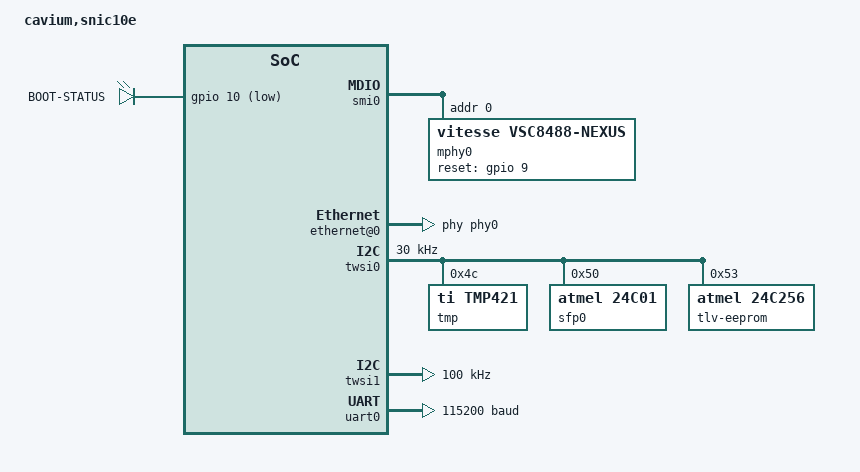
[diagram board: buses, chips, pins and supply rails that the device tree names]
/dts-v1/;
/*
 * Cavium Inc. (Small) NIC10e board
 */
/ {
	model = "cavium,snic10e";
	compatible = "cavium,snic10e";
	#address-cells = <2>;
	#size-cells = <2>;
	interrupt-parent = <&ciu>;

	soc@0 {
		compatible = "simple-bus";
		#address-cells = <2>;
		#size-cells = <2>;
		ranges; /* Direct mapping */

		ciu: interrupt-controller@1070000000000 {
			compatible = "cavium,octeon-3860-ciu";
			interrupt-controller;
			/* Interrupts are specified by two parts:
			 * 1) Controller register (0 or 1)
			 * 2) Bit within the register (0..63)
			 */
			#interrupt-cells = <2>;
			reg = <0x10700 0x00000000 0x0 0x7000>;
		};

		gpio: gpio-controller@1070000000800 {
			#gpio-cells = <2>;
			compatible = "cavium,octeon-3860-gpio";
			reg = <0x10700 0x00000800 0x0 0x100>;
			gpio-controller;
			/* Interrupts are specified by two parts:
			 * 1) GPIO pin number (0..15)
			 * 2) Triggering (1 - edge rising
			 *		  2 - edge falling
			 *		  4 - level active high
			 *		  8 - level active low)
			 */
			interrupt-controller;
			#interrupt-cells = <2>;
			/* The GPIO pins connect to 16 consecutive CUI bits */
			interrupts = <0 16>; /* <0 17> <0 18> <0 19>
				     <0 20> <0 21> <0 22> <0 23>
				     <0 24> <0 25> <0 26> <0 27>
				     <0 28> <0 29> <0 30> <0 31>; */
		};

		smi0: mdio@1180000001800 {
			compatible = "cavium,octeon-3860-mdio";
			#address-cells = <1>;
			#size-cells = <0>;
			reg = <0x11800 0x00001800 0x0 0x40>;

			mphy0: ethernet-phy-nexus@0 {
				reg = <0>;
				/* The Vitesse VSC8488 is a dual-PHY where
				 * some of the configuration is common across
				 * both of the phy devices such as the reset
				 * line and the base MDIO address.
				 */
				compatible = "vitesse,vsc8488-nexus", "ethernet-phy-nexus";
				#address-cells = <1>;
				#size-cells = <0>;
				ranges;

				/* Hardware reset signal */
				reset = <&gpio 9 0>;

				phy0: ethernet-phy@1 {
					/* Absolute address */
					reg = <0x1>;
					compatible = "vitesse,vsc8488", "ethernet-phy-ieee802.3-c45";
					interrupt-parent = <&gpio>;
					interrupts = <13 8>;

					mod_abs = <9>;
					/* TX Fault GPIO line */
					tx_fault = <8>;
					/* GPIO that enables output */
					txon = <10>;
					/* INT A GPIO output */
					inta = <5>;
					/* Optional equalization value to
					 * program into the PHY XS XAUI Rx
					 * Equalization control register.
					 * It is broken up into one nibble for
					 * each lane with lane 0 using bits
					 * 12 - 15.
					 * Use the following table:
					 *	0x0 - 0dB
					 *	0x1 - 1.41dB
					 *	0x2 - 2.24dB
					 *	0x3 - 2.83dB
					 *	0x5 - 4.48dB
					 *	0x6 - 5.39dB
					 *	0x7 - 6.07dB
					 *	0x9 - 6.18dB
					 *	0xA - 7.08dB (default)
					 *	0xB - 7.79dB
					 *	0xD - 9.96dB
					 *	0xE - 10.84dB
					 *	0xF - 11.55dB
					 *
					 * This is board specific and should
					 * only be defined by the hardware
					 * vendor.
					 */
					vitesse,rx_equalization = <0x0000>;
					/* Optional transmit pre-emphasis
					 * control.  This sets the
					 * PHY XS XAUI TX pre-emphasis control
					 * register.
					 *
					 * It uses bits 13-14 for lane 0,
					 * 10-11 for lane 1, 7-8 for lane 2
					 * and 4-5 for lane 3.
					 *
					 * Bits 2-3 are the LOS threshold
					 * setting and bit 1 enables
					 * the XAUI output high swing mode.
					 *
					 * Use the following table for
					 * pre-emphasis:
					 * 0b00 - 0dB
					 * 0b01 - 2.5dB
					 * 0b10 - 6dB (default)
					 * 0b11 - 12dB
					 *
					 * Use the following table for the LOS
					 * threshold setting:
					 *
					 * 0b00 - 50mV - 175mV (default)
					 * 0b01 - 60mV - 185mV
					 * 0b10 - 70mV - 195mV
					 * 0b11 - 80mV - 205mV
					 */
					vitesse,tx_preemphasis = <0x0000>;

					/* TX output driver slew rate control
					 * is bits 8-11 where 0x0 is the minimum
					 * and 0xF is the maximum.
					 * Default is 0xA.
					 *
					 * The TX output driver C(-1)
					 * coefficient is bits 0-4 where
					 * 0b00000 is the minimum (-4ma) and
					 * 0b11111 is the maximum (4ma).  The
					 * default 0x 0b01111.
					 */
					vitesse,txout_driver_ctrl1 = <0x0A0F>;

					/* The TX output driver C(0) coefficient
					 * is bits 8-12 with 0b00000 being the
					 * minimum (0mA) and 0b11111 being
					 * the maximum (16mA). The default is
					 * 0b10011
					 *
					 * The C(+1) coefficient is bits 0-5
					 * with 0b000000 being the minimum
					 * (-0.25mA) and 0b111111 being the
					 * maximum (-16mA).  The default is
					 * 0b000000.
					 */
					vitesse,txout_driver_ctrl2 = <0x1606>;
					/* The Vitesse 10G PHY does not
					 * automatically read the SFP EEPROM
					 * so the host needs to do it to put
					 * the PHY in the proper mode for
					 * copper or optical.
					 */
					sfp-eeprom = <&sfp0>;
	                        };
			};
		};

		pip: pip@11800a0000000 {
			compatible = "cavium,octeon-3860-pip";
			#address-cells = <1>;
			#size-cells = <0>;
			reg = <0x11800 0xa0000000 0x0 0x2000>;

			interface@0 {
				compatible = "cavium,octeon-3860-pip-interface";
				#address-cells = <1>;
				#size-cells = <0>;
				reg = <0>; /* interface */

				ethernet@0 {
					compatible = "cavium,octeon-3860-pip-port";
					reg = <0x0>; /* Port */
					local-mac-address = [ 00 00 00 00 00 00 ];
					phy-handle = <&phy0>;
				};
			};
		};

		twsi0: i2c@1180000001000 {
			#address-cells = <1>;
			#size-cells = <0>;
			compatible = "cavium,octeon-3860-twsi";
			reg = <0x11800 0x00001000 0x0 0x200>;
			interrupts = <0 45>;
			/* NOTE: In order to get the proper delay between
			 * i2c bus transactions for the SFP we need to either
			 * slow the bus down to no more than 30KHz or else
			 * somehow insert a delay between transactions.  Only
			 * U-Boot is capable of inserting the appropriate delay
			 * at this time.
			 */
			clock-frequency = <30000>;

			tmp@4c {
				compatible = "ti,tmp421";
				reg = <0x4c>;
			};
			sfp0: eeprom@50 {
				compatible = "atmel,24c01";
				reg = <0x50>;
			};
			tlv-eeprom@53 {
				compatible = "atmel,24c256";
				reg = <0x53>;
				pagesize = <64>;
			};
		};

		twsi1: i2c@1180000001200 {
			#address-cells = <1>;
			#size-cells = <0>;
			compatible = "cavium,octeon-3860-twsi";
			reg = <0x11800 0x00001200 0x0 0x200>;
			interrupts = <0 59>;
			clock-frequency = <100000>;
		};

		uart0: serial@1180000000800 {
			compatible = "cavium,octeon-3860-uart","ns16550";
			reg = <0x11800 0x00000800 0x0 0x400>;
			clock-frequency = <0>;
			current-speed = <115200>;
			reg-shift = <3>;
			interrupts = <0 34>;
		};

		bootbus: bootbus@1180000000000 {
			compatible = "cavium,octeon-3860-bootbus";
			reg = <0x11800 0x00000000 0x0 0x200>;
			/* The chip select number and offset */
			#address-cells = <2>;
			/* The size of the chip select region */
			#size-cells = <1>;
         ranges = <0 0  0       0x1f400000  0xc00000>,
                  <1 0  0x10000 0x30000000  0>,
                  <2 0  0x10000 0x40000000  0>,
                  <3 0  0x10000 0x50000000  0>,
                  <4 0  0x10000 0x60000000  0>,
                  <5 0  0x10000 0x70000000  0>,
                  <6 0  0x10000 0x80000000  0>,
                  <7 0  0x10000 0x90000000  0>;

			cavium,cs-config@0 {
				compatible = "cavium,octeon-3860-bootbus-config";
				cavium,cs-index = <0>;
				cavium,t-adr  = <10>;
				cavium,t-ce   = <50>;
				cavium,t-oe   = <50>;
				cavium,t-we   = <35>;
				cavium,t-rd-hld = <25>;
				cavium,t-wr-hld = <35>;
				cavium,t-pause  = <0>;
				cavium,t-wait   = <300>;
				cavium,t-page   = <25>;
				cavium,t-rd-dly = <0>;

				cavium,pages     = <0>;
				cavium,bus-width = <8>;
			};
			flash0: nor@0,0 {
				compatible = "cfi-flash";
				reg = <0 0 0x800000>;
				#address-cells = <1>;
				#size-cells = <1>;

				partition@0 {
					label = "bootloader";
					reg = <0x0 0x1c0000>;
					read-only;
				};
				partition@1c0000 {
					label = "kernel";
					reg = <0x1c0000 0x63e000>;
				};
				partition@7fe000 {
					label = "environment";
					reg = <0x7fe0000 0x2000>;
					read-only;
				};
			};
		};

		dma0: dma-engine@1180000000100 {
			compatible = "cavium,octeon-5750-bootbus-dma";
			reg = <0x11800 0x00000100 0x0 0x8>;
			interrupts = <0 63>;
		};
		dma1: dma-engine@1180000000108 {
			compatible = "cavium,octeon-5750-bootbus-dma";
			reg = <0x11800 0x00000108 0x0 0x8>;
			interrupts = <0 63>;
		};
	};

	gpio-leds {
		compatible = "gpio-leds";
		d1 {
			label = "BOOT-STATUS";
			gpios = <&gpio 10 1>;
			default-state = "keep";
		};
	};

	aliases {
		pip = &pip;
		smi0 = &smi0;
		twsi0 = &twsi0;
		twsi1 = &twsi1;
		uart0 = &uart0;
		flash0 = &flash0;
	};
 };
